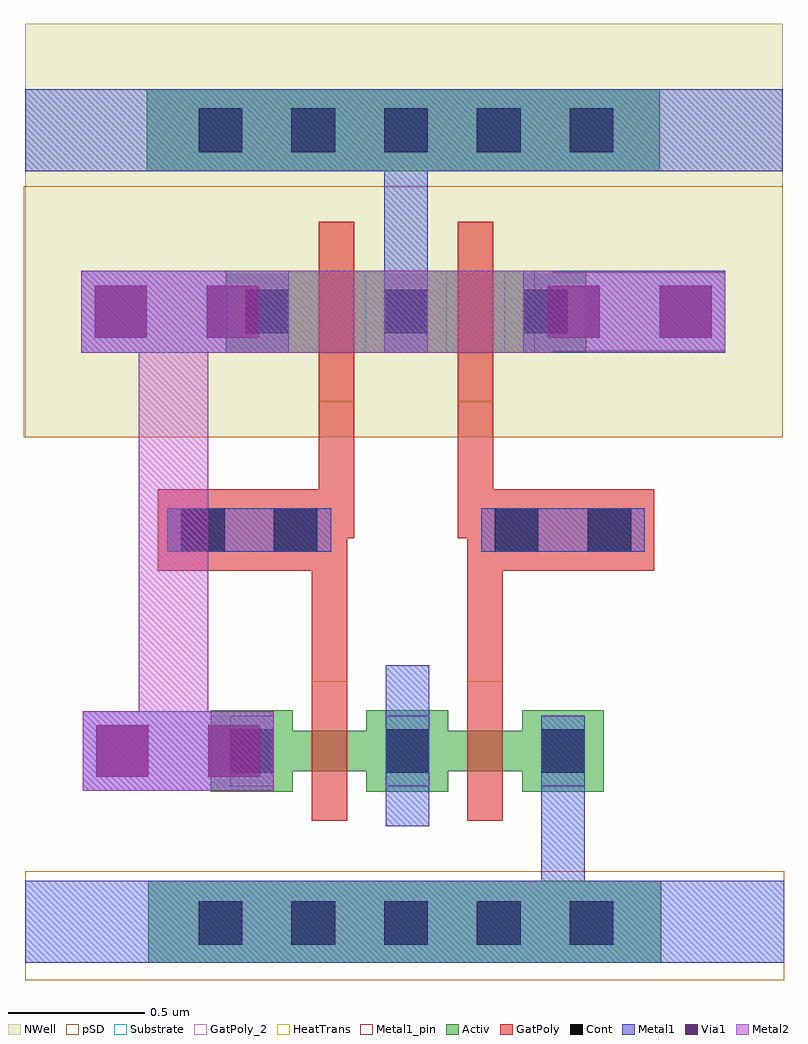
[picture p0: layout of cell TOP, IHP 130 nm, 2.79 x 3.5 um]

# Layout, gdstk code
import gdstk
lib = gdstk.Library(unit=1e-6, precision=1e-09)
def R(c, l, rs):  # rectangles x0, y0, x1, y1
    for r in rs: c.add(gdstk.rectangle(r[:2], r[2:], *l))
def A(c, l, x, y, w, h, nx, ny, dx, dy):  # array of equal rectangles
    R(c, l, [(x+i*dx, y+j*dy, x+i*dx+w, y+j*dy+h) for i in range(nx) for j in range(ny)])
def P(c, l, *ps):  # polygons
    for p in ps: c.add(gdstk.Polygon(p, *l))
Activ = (1, 0)
GatPoly = (5, 0)
GatPoly_2 = (5, 2)
Cont = (6, 0)
Metal1 = (8, 0)
Metal1_pin = (8, 2)
Metal2 = (10, 0)
pSD = (14, 0)
Via1 = (19, 0)
NWell = (31, 0)
Substrate = (40, 0)
HeatTrans = (51, 0)

pmos_1 = lib.new_cell('pmos$1')
R(pmos_1, Activ, [(0,0,0.3,0.3), (0,0,0.81,0.3), (0.51,0,0.81,0.3)])
R(pmos_1, GatPoly, [(0.34,-0.18,0.47,0.48), (0.34,-0.18,0.47,0.48)])
R(pmos_1, Cont, [(0.07,0.07,0.23,0.23), (0.58,0.07,0.74,0.23)])
R(pmos_1, Metal1, [(0.07,0,0.23,0.3), (0.07,0,0.23,0.3), (0.58,0,0.74,0.3), (0.58,0,0.74,0.3)])
R(pmos_1, pSD, [(-0.18,-0.3,0.99,0.6)])
R(pmos_1, NWell, [(-0.31,-0.31,1.12,0.61)])
R(pmos_1, Substrate, [(0.51,0,0.81,0.3)])
R(pmos_1, HeatTrans, [(0.34,-0.18,0.47,0.48)])
pmos_1.add(gdstk.Label('pmos', (0.405,0.15), layer=63, texttype=0))
pmos_1.add(gdstk.Label('pmos', (0.405,0.15), layer=51, texttype=0))

nmos = lib.new_cell('nmos')
R(nmos, Activ, [(0,0,0.3,0.3), (0.57,0,0.87,0.3), (0,0.075,0.87,0.225)])
R(nmos, GatPoly, [(0.37,-0.105,0.5,0.405)])
R(nmos, GatPoly_2, [(0.37,-0.105,0.5,0.405)])
R(nmos, Cont, [(0.07,0.07,0.23,0.23), (0.64,0.07,0.8,0.23)])
R(nmos, Metal1, [(0.07,0.02,0.23,0.28), (0.64,0.02,0.8,0.28)])
R(nmos, Metal1_pin, [(0.07,0.02,0.23,0.28), (0.64,0.02,0.8,0.28)])
R(nmos, HeatTrans, [(0.37,-0.105,0.5,0.405)])
nmos.add(gdstk.Label('nmos', (0.435,0.15), layer=63, texttype=0))
nmos.add(gdstk.Label('nmos', (0.435,0.15), layer=51, texttype=0))

via_stack_1 = lib.new_cell('via_stack$1')
R(via_stack_1, Metal1, [(-0.35,-0.145,0.35,0.145)])
R(via_stack_1, Metal2, [(-0.35,-0.145,0.35,0.145)])
R(via_stack_1, Via1, [(-0.3,-0.095,-0.11,0.095), (0.11,-0.095,0.3,0.095)])

top = lib.new_cell('TOP')
R(top, Activ, [(0.59,1.215,2.47,1.515), (0.585,4.115,2.465,4.415)])
P(top, GatPoly, [(1.19,2.245),(1.19,2.65),(0.625,2.65),(0.625,2.95),(1.215,2.95),(1.215,3.27),(1.345,3.27),(1.345,2.77),(1.32,2.77),(1.32,2.245)],
  [(1.76,2.245),(1.76,2.41),(1.76,2.77),(1.725,2.77),(1.725,3.27),(1.855,3.27),(1.855,2.95),(2.445,2.95),(2.445,2.65),(1.89,2.65),(1.89,2.41),(1.89,2.245)])
A(top, Cont, 0.775, 1.28, 0.16, 0.16, 5, 2, 0.34, 2.905)
R(top, Cont, [(0.71,2.72,0.87,2.88), (1.05,2.72,1.21,2.88), (1.86,2.72,2.02,2.88), (2.2,2.72,2.36,2.88)])
R(top, Metal1, [(1.46,1.715,1.62,2.305), (0.35,1.845,1.05,2.135), (0.66,2.72,1.26,2.88), (1.81,2.72,2.41,2.88), (0.345,3.45,1.105,3.75), (1.965,3.45,2.705,3.75)])
P(top, Metal1, [(0.14,1.215),(0.14,1.515),(2.03,1.515),(2.03,1.895),(2.19,1.895),(2.19,1.515),(2.92,1.515),(2.92,1.215)],
  [(1.455,3.6),(1.455,4.115),(0.14,4.115),(0.14,4.415),(2.915,4.415),(2.915,4.115),(1.615,4.115),(1.615,3.6)])
R(top, Metal1_pin, [(0.14,1.215,2.92,1.515), (0.66,2.72,1.26,2.88), (1.81,2.72,2.41,2.88), (2.005,3.45,2.705,3.75), (0.14,4.115,2.915,4.415)])
P(top, Metal2, [(0.35,1.845),(0.35,2.135),(0.555,2.135),(0.555,3.45),(0.35,3.45),(0.35,3.75),(2.07,3.75),(2.07,3.45),(0.81,3.45),(0.81,2.135),(1.05,2.135),(1.05,1.845)])
R(top, pSD, [(0.14,1.15,2.92,1.55), (0.135,3.14,2.915,4.06)])
P(top, NWell, [(0.14,3.14),(0.14,4.655),(2.915,4.655),(2.915,3.14),(2.505,3.14),(2.505,4.06),(0.565,4.06),(0.565,3.14)])
top.add(gdstk.Reference(pmos_1, (0.875,3.45)))
top.add(gdstk.Reference(pmos_1, (1.385,3.45)))
top.add(gdstk.Reference(nmos, (0.82,1.84)))
top.add(gdstk.Reference(nmos, (1.39,1.84)))
top.add(gdstk.Reference(via_stack_1, (0.695,3.6)))
top.add(gdstk.Reference(via_stack_1, (0.7,1.99)))
top.add(gdstk.Reference(via_stack_1, (2.355,3.6)))

lib.write_gds('TOP.gds')
